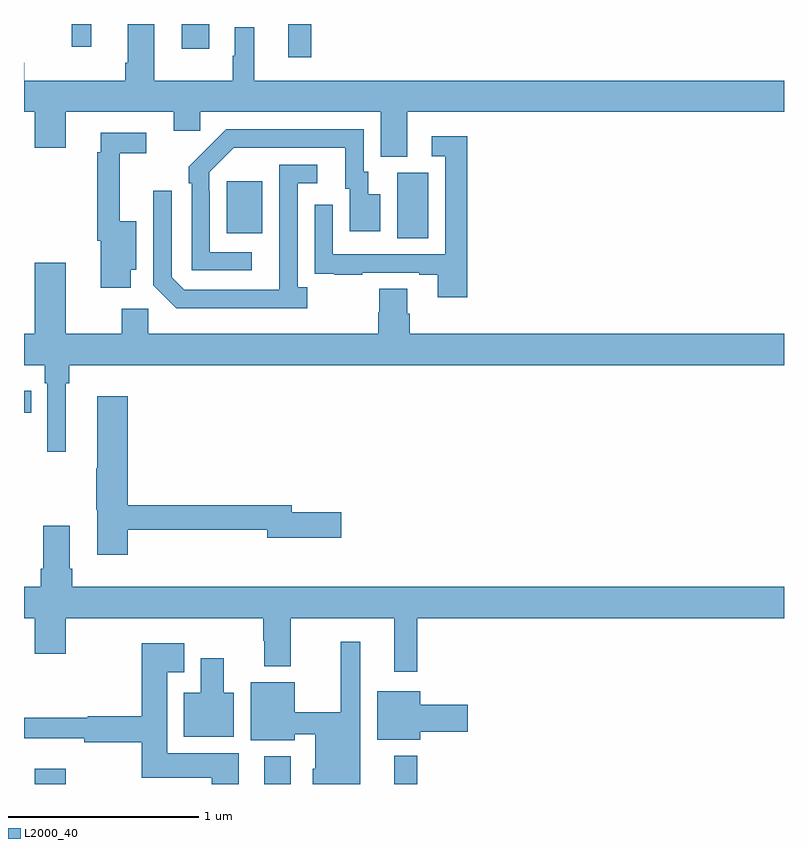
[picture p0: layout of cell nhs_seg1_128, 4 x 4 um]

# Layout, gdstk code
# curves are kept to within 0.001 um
import gdstk
lib = gdstk.Library(unit=1e-6, precision=1e-09)
def R(c, l, rs):  # rectangles x0, y0, x1, y1
    for r in rs: c.add(gdstk.rectangle(r[:2], r[2:], *l))
def P(c, l, *ps):  # polygons
    for p in ps: c.add(gdstk.Polygon(p, *l))
L2000_40 = (2000, 40)

nhs_seg1_128 = lib.new_cell('nhs_seg1_128')
R(nhs_seg1_128, L2000_40, [(117.056,544.199,117.22,544.279), (118.265,544.199,118.405,544.345), (118.949,544.199,119.071,544.348), (117,546.154,117.038,546.27), (118.964,547.072,119.128,547.416), (118.067,547.097,118.255,547.372), (118.391,548.025,118.513,548.199), (117.83,548.07,117.976,548.199), (117.25,548.079,117.353,548.199)])
P(nhs_seg1_128, L2000_40, [(119.017,547.736),(121,547.736),(121,547.9),(118.213,547.9),(118.213,548.182),(118.109,548.182),(118.109,548.033),(118.099,548.033),(118.099,547.9),(117.685,547.9),(117.685,548.199),(117.545,548.199),(117.545,547.996),(117.533,547.996),(117.533,547.9),(117.002,547.9),(117.002,547.996),(117,547.996),(117,547.736),(117.056,547.736),(117.056,547.548),(117.22,547.548),(117.22,547.736),(117.788,547.736),(117.788,547.638),(117.927,547.638),(117.927,547.736),(118.877,547.736),(118.877,547.501),(119.017,547.501)],
  [(118.198,546.999),(117.978,546.999),(117.978,547.319),(117.975,547.319),(117.975,547.419),(118.104,547.548),(118.691,547.548),(118.691,547.332),(118.715,547.332),(118.715,547.107),(118.876,547.107),(118.876,547.303),(118.813,547.303),(118.813,547.422),(118.788,547.422),(118.788,547.644),(118.064,547.644),(117.867,547.449),(117.867,547.361),(117.882,547.361),(117.882,546.903),(118.198,546.903)],
  [(117.562,546.905),(117.592,546.905),(117.592,547.162),(117.503,547.162),(117.503,547.518),(117.643,547.518),(117.643,547.626),(117.404,547.626),(117.404,547.523),(117.385,547.523),(117.385,547.058),(117.404,547.058),(117.404,546.81),(117.562,546.81)],
  [(119.333,547.609),(119.145,547.609),(119.145,547.503),(119.217,547.503),(119.217,546.987),(118.626,546.987),(118.626,547.249),(118.53,547.249),(118.53,546.994),(118.531,546.994),(118.531,546.885),(118.633,546.885),(118.633,546.879),(118.781,546.879),(118.781,546.891),(119.081,546.891),(119.081,546.879),(119.177,546.879),(119.177,546.762),(119.333,546.762)],
  [(118.492,546.814),(118.44,546.814),(118.44,547.362),(118.543,547.362),(118.543,547.458),(118.344,547.458),(118.343,546.801),(117.843,546.801),(117.777,546.867),(117.777,547.321),(117.681,547.321),(117.681,546.825),(117.802,546.704),(118.492,546.704)],
  [(117.22,546.308),(117.239,546.308),(117.239,546.404),(121,546.404),(121,546.568),(119.03,546.568),(119.03,546.674),(119.017,546.674),(119.017,546.806),(118.87,546.806),(118.87,546.681),(118.865,546.681),(118.865,546.568),(117.654,546.568),(117.654,546.7),(117.515,546.7),(117.515,546.568),(117.22,546.568),(117.22,546.943),(117.056,546.943),(117.056,546.568),(117,546.568),(117,546.404),(117.11,546.404),(117.11,546.308),(117.123,546.308),(117.123,545.949),(117.22,545.949)],
  [(117.545,545.538),(118.28,545.538),(118.28,545.495),(118.669,545.495),(118.669,545.63),(118.408,545.63),(118.408,545.666),(117.545,545.666),(117.545,546.241),(117.386,546.241),(117.386,545.861),(117.379,545.861),(117.379,545.643),(117.386,545.643),(117.386,545.406),(117.545,545.406)],
  [(119.071,545.072),(121,545.072),(121,545.236),(117.254,545.236),(117.254,545.332),(117.241,545.332),(117.241,545.557),(117.101,545.557),(117.101,545.332),(117.089,545.332),(117.089,545.236),(117,545.236),(117,545.072),(117.056,545.072),(117.056,544.884),(117.22,544.884),(117.22,545.072),(118.258,545.072),(118.258,544.952),(118.265,544.952),(118.265,544.82),(118.405,544.82),(118.405,545.072),(118.949,545.072),(118.949,544.791),(119.071,544.791)],
  [(118.771,544.948),(118.667,544.948),(118.667,544.577),(118.426,544.577),(118.426,544.735),(118.193,544.735),(118.193,544.43),(118.426,544.43),(118.426,544.46),(118.532,544.46),(118.532,544.278),(118.52,544.278),(118.52,544.199),(118.771,544.199)],
  [(118.129,544.36),(117.754,544.36),(117.754,544.787),(117.844,544.787),(117.844,544.939),(117.62,544.939),(117.62,544.556),(117.336,544.556),(117.336,544.549),(117,544.549),(117,544.439),(117.316,544.439),(117.316,544.42),(117.62,544.42),(117.62,544.232),(117.989,544.232),(117.989,544.199),(118.129,544.199)],
  [(118.105,544.678),(118.051,544.678),(118.051,544.861),(117.929,544.861),(117.929,544.678),(117.842,544.678),(117.842,544.448),(118.105,544.448)],
  [(119.086,544.475),(119.335,544.475),(119.335,544.617),(119.086,544.617),(119.086,544.687),(118.859,544.687),(118.859,544.433),(119.086,544.433)])

lib.write_gds('nhs_seg1_128.gds')
